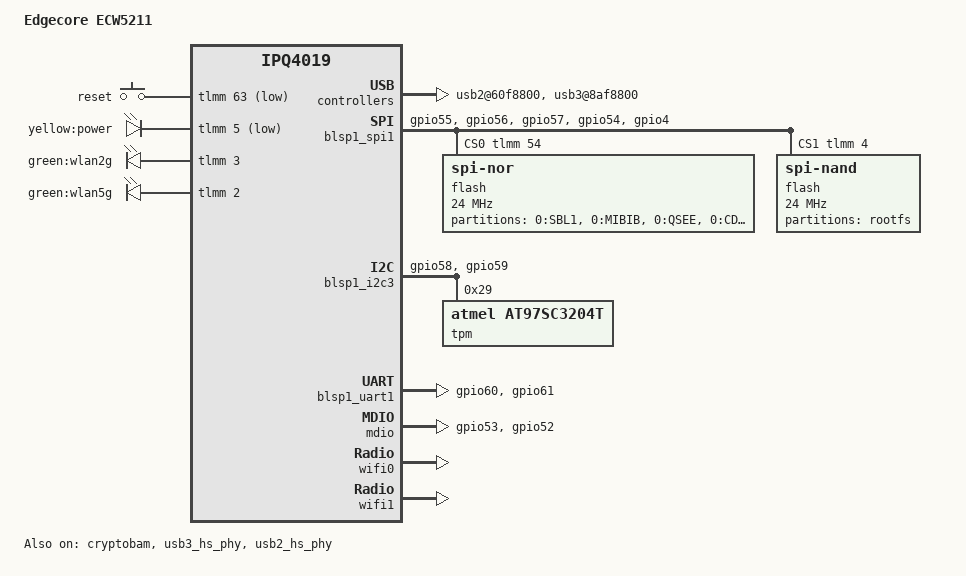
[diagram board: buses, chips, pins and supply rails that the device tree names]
// SPDX-License-Identifier: GPL-2.0-or-later OR MIT

#include "qcom-ipq4019.dtsi"
#include <dt-bindings/gpio/gpio.h>
#include <dt-bindings/input/input.h>
#include <dt-bindings/soc/qcom,tcsr.h>

/ {
	model = "Edgecore ECW5211";
	compatible = "edgecore,ecw5211";

	aliases {
		led-boot = &led_power;
		led-failsafe = &led_power;
		led-running = &led_power;
		led-upgrade = &led_power;
		label-mac-device = &gmac0;
	};

	chosen {
		bootargs-append = " root=/dev/ubiblock0_1";
	};

	keys {
		compatible = "gpio-keys";

		reset {
			label = "reset";
			gpios = <&tlmm 63 GPIO_ACTIVE_LOW>;
			linux,code = <KEY_RESTART>;
		};
	};

	leds {
		compatible = "gpio-leds";

		led_power: power {
			label = "yellow:power";
			gpios = <&tlmm 5 GPIO_ACTIVE_LOW>;
		};

		wlan2g {
			label = "green:wlan2g";
			gpios = <&tlmm 3 GPIO_ACTIVE_HIGH>;
			linux,default-trigger = "phy0tpt";
		};

		wlan5g {
			label = "green:wlan5g";
			gpios = <&tlmm 2 GPIO_ACTIVE_HIGH>;
			linux,default-trigger = "phy1tpt";
		};
	};

	soc {
		rng@22000 {
			status = "okay";
		};

		ess-psgmii@98000 {
			status = "okay";
		};

		counter@4a1000 {
			compatible = "qcom,qca-gcnt";
			reg = <0x4a1000 0x4>;
		};

		tcsr@1949000 {
			compatible = "qcom,tcsr";
			reg = <0x1949000 0x100>;
			qcom,wifi_glb_cfg = <TCSR_WIFI_GLB_CFG>;
		};

		tcsr@194b000 {
			compatible = "qcom,tcsr";
			reg = <0x194b000 0x100>;
			qcom,usb-hsphy-mode-select = <TCSR_USB_HSPHY_HOST_MODE>;
		};

		ess_tcsr@1953000 {
			compatible = "qcom,tcsr";
			reg = <0x1953000 0x1000>;
			qcom,ess-interface-select = <TCSR_ESS_PSGMII>;
		};

		tcsr@1957000 {
			compatible = "qcom,tcsr";
			reg = <0x1957000 0x100>;
			qcom,wifi_noc_memtype_m0_m2 = <TCSR_WIFI_NOC_MEMTYPE_M0_M2>;
		};

		usb2@60f8800 {
			status = "okay";
		};

		usb3@8af8800 {
			status = "okay";

			dwc3@8a00000 {
				phys = <&usb3_hs_phy>;
				phy-names = "usb2-phy";
			};
		};

		crypto@8e3a000 {
			status = "okay";
		};

		watchdog@b017000 {
			status = "okay";
		};

		ess-switch@c000000 {
			status = "okay";

			switch_lan_bmp = <0x10>;
			switch_wan_bmp = <0x20>;
		};

		edma@c080000 {
			status = "okay";
		};
	};
};

&tlmm {
	mdio_pins: mdio_pinmux {
		mux_mdio {
			pins = "gpio53";
			function = "mdio";
			bias-pull-up;
		};

		mux_mdc {
			pins = "gpio52";
			function = "mdc";
			bias-pull-up;
		};
	};

	serial_pins: serial_pinmux {
		mux {
			pins = "gpio60", "gpio61";
			function = "blsp_uart0";
			bias-disable;
		};
	};

	spi0_pins: spi0_pinmux {
		pin {
			function = "blsp_spi0";
			pins = "gpio55", "gpio56", "gpio57";
			drive-strength = <2>;
			bias-disable;
		};

		pin_cs {
			function = "gpio";
			pins = "gpio54", "gpio4";
			drive-strength = <2>;
			bias-disable;
			output-high;
		};
	};

	i2c0_pins: i2c0_pinmux {
		mux_i2c {
			function = "blsp_i2c0";
			pins = "gpio58", "gpio59";
			drive-strength = <16>;
			bias-disable;
		};
	};
};

&blsp_dma {
	status = "okay";
};

&blsp1_spi1 {
	status = "okay";

	pinctrl-0 = <&spi0_pins>;
	pinctrl-names = "default";
	cs-gpios = <&tlmm 54 GPIO_ACTIVE_HIGH>, <&tlmm 4 GPIO_ACTIVE_HIGH>;

	flash@0 {
		compatible = "jedec,spi-nor";
		reg = <0>;
		spi-max-frequency = <24000000>;

		partitions {
			compatible = "fixed-partitions";
			#address-cells = <1>;
			#size-cells = <1>;

			partition@0 {
				label = "0:SBL1";
				reg = <0x00000000 0x00040000>;
				read-only;
			};

			partition@40000 {
				label = "0:MIBIB";
				reg = <0x00040000 0x00020000>;
				read-only;
			};

			partition@60000 {
				label = "0:QSEE";
				reg = <0x00060000 0x00060000>;
				read-only;
			};

			partition@c0000 {
				label = "0:CDT";
				reg = <0x000c0000 0x00010000>;
				read-only;
			};

			partition@d0000 {
				label = "0:DDRPARAMS";
				reg = <0x000d0000 0x00010000>;
				read-only;
			};

			partition@e0000 {
				label = "0:APPSBLENV"; /* uboot env */
				reg = <0x000e0000 0x00010000>;
			};

			partition@f0000 {
				label = "0:APPSBL"; /* uboot */
				reg = <0x000f0000 0x00080000>;
				read-only;
			};

			partition@170000 {
				label = "0:ART";
				reg = <0x00170000 0x00010000>;
				read-only;
				compatible = "nvmem-cells";
				#address-cells = <1>;
				#size-cells = <1>;

				precal_art_1000: precal@1000 {
					reg = <0x1000 0x2f20>;
				};

				precal_art_5000: precal@5000 {
					reg = <0x5000 0x2f20>;
				};
			};
		};
	};

	flash@1 {
		compatible = "spi-nand";
		reg = <1>;
		spi-max-frequency = <24000000>;

		partitions {
			compatible = "fixed-partitions";
			#address-cells = <1>;
			#size-cells = <1>;

			partition@0 {
				label = "rootfs";
				reg = <0x00000000 0x04000000>;
			};
		};
	};
};

&blsp1_i2c3 {
	status = "okay";

	pinctrl-0 = <&i2c0_pins>;
	pinctrl-names = "default";

	tpm@29 {
		compatible = "atmel,at97sc3204t";
		reg = <0x29>;
	};
};

&blsp1_uart1 {
	status = "okay";

	pinctrl-0 = <&serial_pins>;
	pinctrl-names = "default";
};

&cryptobam {
	status = "okay";
};

&mdio {
	status = "okay";

	pinctrl-0 = <&mdio_pins>;
	pinctrl-names = "default";
};

&gmac0 {
	qcom,poll_required = <1>;
	qcom,phy_mdio_addr = <4>;
	vlan_tag = <2 0x20>;
};

&gmac1 {
	qcom,poll_required = <1>;
	qcom,phy_mdio_addr = <3>;
	vlan_tag = <1 0x10>;
};

&wifi0 {
	status = "okay";
	nvmem-cell-names = "pre-calibration";
	nvmem-cells = <&precal_art_1000>;
};

&wifi1 {
	status = "okay";
	nvmem-cell-names = "pre-calibration";
	nvmem-cells = <&precal_art_5000>;
	qcom,ath10k-calibration-variant = "ALFA-Network-AP120C-AC";
};

&usb3_hs_phy {
	status = "okay";
};

&usb2_hs_phy {
	status = "okay";
};
